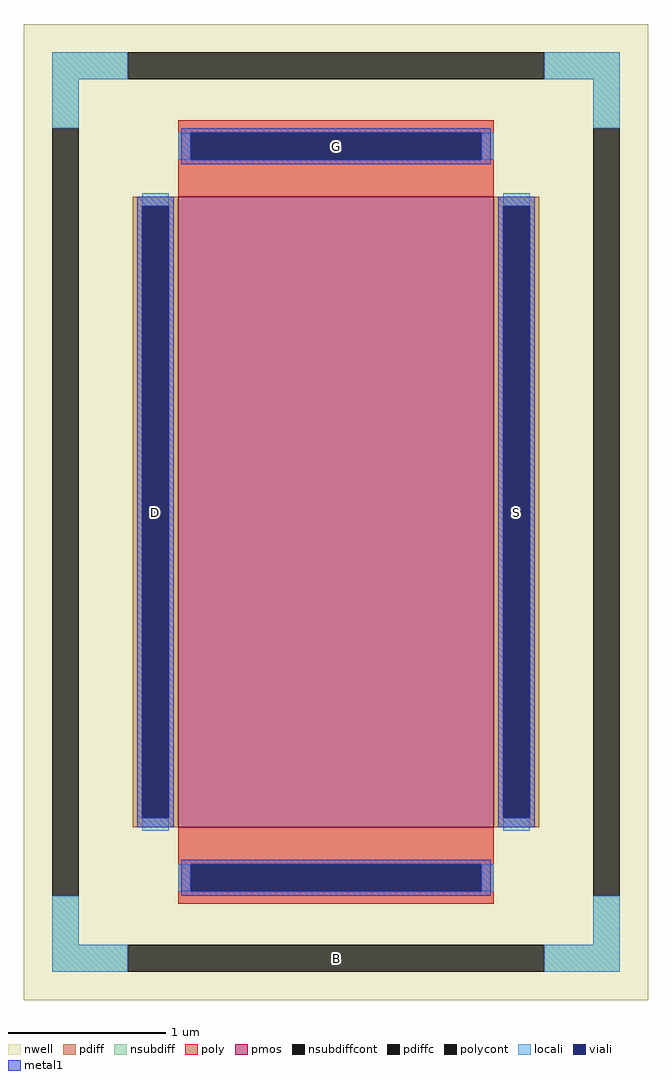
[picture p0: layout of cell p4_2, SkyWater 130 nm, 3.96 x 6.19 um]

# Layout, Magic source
magic
tech sky130A
magscale 1 2
<< nwell >>
rect -396 -619 396 619
<< pmos >>
rect -200 -400 200 400
<< pdiff >>
rect -258 388 -200 400
rect -258 -388 -246 388
rect -212 -388 -200 388
rect -258 -400 -200 -388
rect 200 388 258 400
rect 200 -388 212 388
rect 246 -388 258 388
rect 200 -400 258 -388
<< pdiffc >>
rect -246 -388 -212 388
rect 212 -388 246 388
<< nsubdiff >>
rect -360 549 -264 583
rect 264 549 360 583
rect -360 487 -326 549
rect 326 487 360 549
rect -360 -549 -326 -487
rect 326 -549 360 -487
rect -360 -583 -264 -549
rect 264 -583 360 -549
<< nsubdiffcont >>
rect -264 549 264 583
rect -360 -487 -326 487
rect 326 -487 360 487
rect -264 -583 264 -549
<< poly >>
rect -200 481 200 497
rect -200 447 -184 481
rect 184 447 200 481
rect -200 400 200 447
rect -200 -447 200 -400
rect -200 -481 -184 -447
rect 184 -481 200 -447
rect -200 -497 200 -481
<< polycont >>
rect -184 447 184 481
rect -184 -481 184 -447
<< locali >>
rect -360 549 -264 583
rect 264 549 360 583
rect -360 487 -326 549
rect 326 487 360 549
rect -200 447 -184 481
rect 184 447 200 481
rect -246 388 -212 404
rect -246 -404 -212 -388
rect 212 388 246 404
rect 212 -404 246 -388
rect -200 -481 -184 -447
rect 184 -481 200 -447
rect -360 -549 -326 -487
rect 326 -549 360 -487
rect -360 -583 -264 -549
rect 264 -583 360 -549
<< viali >>
rect -184 447 184 481
rect -246 -388 -212 388
rect 212 -388 246 388
rect -184 -481 184 -447
<< metal1 >>
rect -196 481 196 487
rect -196 447 -184 481
rect 184 447 196 481
rect -196 441 196 447
rect -252 388 -206 400
rect -252 -388 -246 388
rect -212 -388 -206 388
rect -252 -400 -206 -388
rect 206 388 252 400
rect 206 -388 212 388
rect 246 -388 252 388
rect 206 -400 252 -388
rect -196 -447 196 -441
rect -196 -481 -184 -447
rect 184 -481 196 -447
rect -196 -487 196 -481
<< labels >>
rlabel nsubdiffcont 0 -566 0 -566 0 B
port 1 nsew
rlabel pdiffc -229 0 -229 0 0 D
port 2 nsew
rlabel pdiffc 229 0 229 0 0 S
port 3 nsew
rlabel polycont 0 464 0 464 0 G
port 4 nsew
<< properties >>
string FIXED_BBOX -343 -566 343 566
string gencell sky130_fd_pr__pfet_01v8
string library sky130
string parameters w 4 l 2 m 1 nf 1 diffcov 100 polycov 100 guard 1 glc 1 grc 1 gtc 1 gbc 1 tbcov 100 rlcov 100 topc 1 botc 1 poverlap 0 doverlap 1 lmin 0.15 wmin 0.42 class mosfet compatible {sky130_fd_pr__pfet_01v8  sky130_fd_pr__pfet_01v8_lvt sky130_fd_pr__pfet_01v8_hvt  sky130_fd_pr__pfet_g5v0d10v5} full_metal 1 conn_gates 0 viasrc 100 viadrn 100 viagate 100 viagb 0 viagr 0 viagl 0 viagt 0 doports 1
<< end >>
